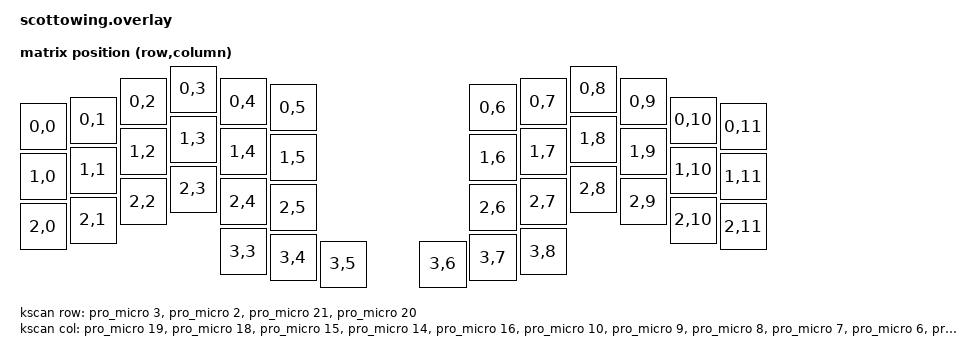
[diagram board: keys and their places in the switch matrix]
#include <dt-bindings/zmk/matrix_transform.h>
#include <physical_layouts.dtsi>

/ {
    chosen {
        zmk,kscan = &kscan;
        zmk,physical-layout = &phy_layout;
    };

    kscan: kscan {
        compatible = "zmk,kscan-gpio-matrix";
        label = "KSCAN";
        diode-direction = "col2row";
        wakeup-source;

        row-gpios = <&pro_micro 3 (GPIO_ACTIVE_HIGH | GPIO_PULL_DOWN)>,
                    <&pro_micro 2 (GPIO_ACTIVE_HIGH | GPIO_PULL_DOWN)>,
                    <&pro_micro 21 (GPIO_ACTIVE_HIGH | GPIO_PULL_DOWN)>,
                    <&pro_micro 20 (GPIO_ACTIVE_HIGH | GPIO_PULL_DOWN)>;

        col-gpios = <&pro_micro 19 (GPIO_ACTIVE_HIGH)>,
                    <&pro_micro 18 (GPIO_ACTIVE_HIGH)>,
                    <&pro_micro 15 (GPIO_ACTIVE_HIGH)>,
                    <&pro_micro 14 (GPIO_ACTIVE_HIGH)>,
                    <&pro_micro 16 (GPIO_ACTIVE_HIGH)>,
                    <&pro_micro 10 (GPIO_ACTIVE_HIGH)>,
                    <&pro_micro 9 (GPIO_ACTIVE_HIGH)>,
                    <&pro_micro 8 (GPIO_ACTIVE_HIGH)>,
                    <&pro_micro 7 (GPIO_ACTIVE_HIGH)>,
                    <&pro_micro 6 (GPIO_ACTIVE_HIGH)>,
                    <&pro_micro 5 (GPIO_ACTIVE_HIGH)>,
                    <&pro_micro 4 (GPIO_ACTIVE_HIGH)>;
    };

    transform: matrix_transform {
        compatible = "zmk,matrix-transform";
        rows = <4>;
        columns = <12>;

        map = <
                RC(0, 0) RC(0, 1) RC(0, 2) RC(0, 3) RC(0, 4) RC(0, 5) RC(0, 6) RC(0, 7) RC(0, 8) RC(0, 9) RC(0, 10) RC(0, 11)
                RC(1, 0) RC(1, 1) RC(1, 2) RC(1, 3) RC(1, 4) RC(1, 5) RC(1, 6) RC(1, 7) RC(1, 8) RC(1, 9) RC(1, 10) RC(1, 11)
                RC(2, 0) RC(2, 1) RC(2, 2) RC(2, 3) RC(2, 4) RC(2, 5) RC(2, 6) RC(2, 7) RC(2, 8) RC(2, 9) RC(2, 10) RC(2, 11)
                                           RC(3, 3) RC(3, 4) RC(3, 5) RC(3, 6) RC(3, 7) RC(3, 8)
        >;
    };

    phy_layout: phy_layout {
        compatible = "zmk,physical-layout";
        display-name = "Default Layout";
        transform = <&transform>;

        keys  //                     w   h    x    y     rot    rx    ry
            = <&key_physical_attrs 100 100    0   75       0     0     0>
            , <&key_physical_attrs 100 100  100   62       0     0     0>
            , <&key_physical_attrs 100 100  200   25       0     0     0>
            , <&key_physical_attrs 100 100  300    0       0     0     0>
            , <&key_physical_attrs 100 100  400   25       0     0     0>
            , <&key_physical_attrs 100 100  500   37       0     0     0>
            , <&key_physical_attrs 100 100  900   37       0     0     0>
            , <&key_physical_attrs 100 100 1000   25       0     0     0>
            , <&key_physical_attrs 100 100 1100    0       0     0     0>
            , <&key_physical_attrs 100 100 1200   25       0     0     0>
            , <&key_physical_attrs 100 100 1300   62       0     0     0>
            , <&key_physical_attrs 100 100 1400   75       0     0     0>
            , <&key_physical_attrs 100 100    0  175       0     0     0>
            , <&key_physical_attrs 100 100  100  162       0     0     0>
            , <&key_physical_attrs 100 100  200  125       0     0     0>
            , <&key_physical_attrs 100 100  300  100       0     0     0>
            , <&key_physical_attrs 100 100  400  125       0     0     0>
            , <&key_physical_attrs 100 100  500  137       0     0     0>
            , <&key_physical_attrs 100 100  900  137       0     0     0>
            , <&key_physical_attrs 100 100 1000  125       0     0     0>
            , <&key_physical_attrs 100 100 1100  100       0     0     0>
            , <&key_physical_attrs 100 100 1200  125       0     0     0>
            , <&key_physical_attrs 100 100 1300  162       0     0     0>
            , <&key_physical_attrs 100 100 1400  175       0     0     0>
            , <&key_physical_attrs 100 100    0  275       0     0     0>
            , <&key_physical_attrs 100 100  100  262       0     0     0>
            , <&key_physical_attrs 100 100  200  225       0     0     0>
            , <&key_physical_attrs 100 100  300  200       0     0     0>
            , <&key_physical_attrs 100 100  400  225       0     0     0>
            , <&key_physical_attrs 100 100  500  237       0     0     0>
            , <&key_physical_attrs 100 100  900  237       0     0     0>
            , <&key_physical_attrs 100 100 1000  225       0     0     0>
            , <&key_physical_attrs 100 100 1100  200       0     0     0>
            , <&key_physical_attrs 100 100 1200  225       0     0     0>
            , <&key_physical_attrs 100 100 1300  262       0     0     0>
            , <&key_physical_attrs 100 100 1400  275       0     0     0>
            , <&key_physical_attrs 100 100  400  325       0     0     0>
            , <&key_physical_attrs 100 100  500  337       0     0     0>
            , <&key_physical_attrs 100 100  600  350       0     0     0>
            , <&key_physical_attrs 100 100  800  350       0     0     0>
            , <&key_physical_attrs 100 100  900  337       0     0     0>
            , <&key_physical_attrs 100 100 1000  325       0     0     0>
        ;
    };
};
